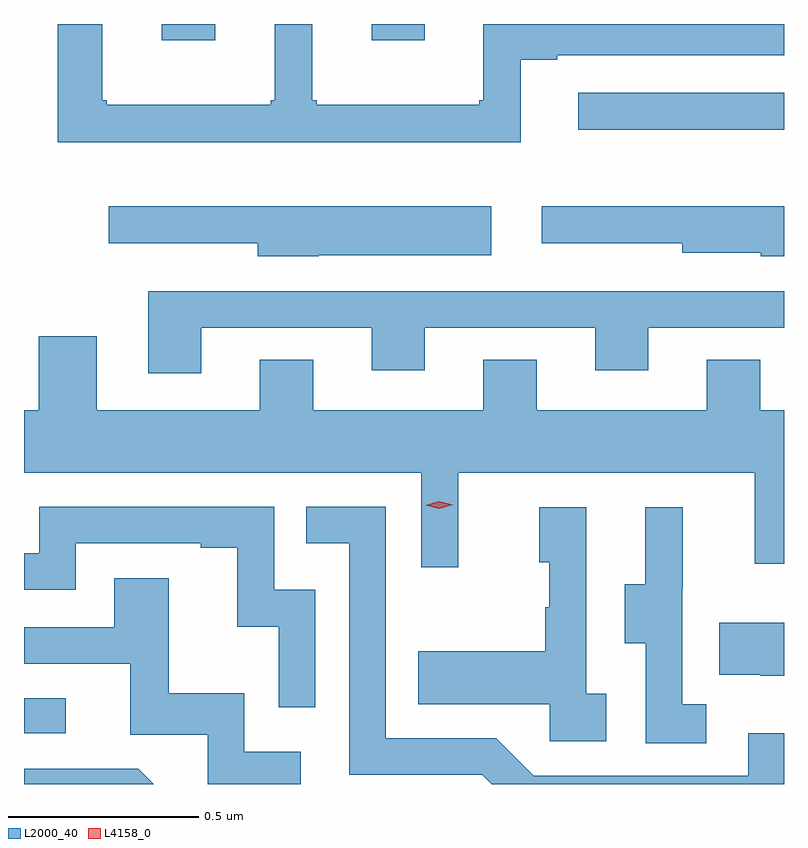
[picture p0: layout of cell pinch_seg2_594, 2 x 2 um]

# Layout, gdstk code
import gdstk
lib = gdstk.Library(unit=1e-6, precision=1e-09)
def R(c, l, rs):  # rectangles x0, y0, x1, y1
    for r in rs: c.add(gdstk.rectangle(r[:2], r[2:], *l))
def P(c, l, *ps):  # polygons
    for p in ps: c.add(gdstk.Polygon(p, *l))
L2000_40 = (2000, 40)
L4158_0 = (4158, 0)

pinch_seg2_594 = lib.new_cell('pinch_seg2_594')
R(pinch_seg2_594, L2000_40, [(1116.218,621.642,1116.328,621.735), (1117.677,623.231,1118.218,623.328), (1116.581,623.466,1116.721,623.509), (1117.133,623.466,1117.273,623.509)])
P(pinch_seg2_594, L2000_40, [(1117.525,623.415),(1117.621,623.415),(1117.621,623.427),(1118.218,623.427),(1118.218,623.509),(1117.427,623.509),(1117.427,623.308),(1117.416,623.308),(1117.416,623.296),(1116.988,623.296),(1116.988,623.308),(1116.976,623.308),(1116.976,623.509),(1116.878,623.509),(1116.878,623.308),(1116.867,623.308),(1116.867,623.296),(1116.436,623.296),(1116.436,623.308),(1116.424,623.308),(1116.424,623.509),(1116.307,623.509),(1116.307,623.198),(1117.525,623.198)],
  [(1118.218,623.029),(1118.05,623.029),(1118.05,623.03),(1117.581,623.03),(1117.581,622.932),(1117.95,622.932),(1117.95,622.907),(1118.157,622.907),(1118.157,622.898),(1118.218,622.898)],
  [(1116.993,622.901),(1117.447,622.901),(1117.447,623.029),(1116.441,623.029),(1116.441,622.932),(1116.833,622.932),(1116.833,622.898),(1116.993,622.898)],
  [(1116.685,622.71),(1117.133,622.71),(1117.133,622.598),(1117.273,622.598),(1117.273,622.71),(1117.721,622.71),(1117.721,622.598),(1117.861,622.598),(1117.861,622.71),(1118.218,622.71),(1118.218,622.806),(1116.545,622.806),(1116.545,622.59),(1116.685,622.59)],
  [(1116.839,622.625),(1116.839,622.492),(1116.409,622.492),(1116.409,622.687),(1116.257,622.687),(1116.257,622.492),(1116.218,622.492),(1116.218,622.328),(1117.263,622.328),(1117.263,622.08),(1117.361,622.08),(1117.361,622.328),(1118.141,622.328),(1118.141,622.089),(1118.218,622.089),(1118.218,622.492),(1118.155,622.492),(1118.155,622.625),(1118.015,622.625),(1118.015,622.492),(1117.567,622.492),(1117.567,622.625),(1117.427,622.625),(1117.427,622.492),(1116.979,622.492),(1116.979,622.625)],
  [(1116.984,622.02),(1116.876,622.02),(1116.876,622.239),(1116.258,622.239),(1116.258,622.116),(1116.218,622.116),(1116.218,622.02),(1116.354,622.02),(1116.354,622.143),(1116.683,622.143),(1116.683,622.131),(1116.779,622.131),(1116.779,621.923),(1116.888,621.923),(1116.888,621.711),(1116.984,621.711)],
  [(1118.218,621.643),(1118.124,621.643),(1118.124,621.531),(1117.56,621.531),(1117.461,621.63),(1117.17,621.63),(1117.17,622.239),(1116.961,622.239),(1116.961,622.143),(1117.074,622.143),(1117.074,621.534),(1117.424,621.534),(1117.449,621.509),(1118.218,621.509)],
  [(1117.75,621.746),(1117.698,621.746),(1117.698,622.237),(1117.574,622.237),(1117.574,622.092),(1117.6,622.092),(1117.6,621.974),(1117.59,621.974),(1117.59,621.859),(1117.255,621.859),(1117.255,621.719),(1117.602,621.719),(1117.602,621.621),(1117.75,621.621)],
  [(1118.014,621.719),(1117.95,621.719),(1117.95,622.023),(1117.952,622.023),(1117.952,622.237),(1117.853,622.237),(1117.853,622.035),(1117.799,622.035),(1117.799,621.88),(1117.854,621.88),(1117.854,621.616),(1118.014,621.616)],
  [(1116.946,621.594),(1116.798,621.594),(1116.798,621.748),(1116.599,621.748),(1116.599,622.051),(1116.455,622.051),(1116.455,621.921),(1116.218,621.921),(1116.218,621.825),(1116.497,621.825),(1116.497,621.639),(1116.702,621.639),(1116.702,621.509),(1116.946,621.509)],
  [(1118.218,621.934),(1118.047,621.934),(1118.047,621.797),(1118.155,621.797),(1118.155,621.794),(1118.218,621.794)],
  [(1116.519,621.549),(1116.218,621.549),(1116.218,621.509),(1116.559,621.509)])
P(pinch_seg2_594, L4158_0, [(1117.311,622.233),(1117.275,622.242),(1117.274,622.243),(1117.275,622.243),(1117.31,622.253),(1117.346,622.244),(1117.347,622.244),(1117.346,622.244)])

lib.write_gds('pinch_seg2_594.gds')
